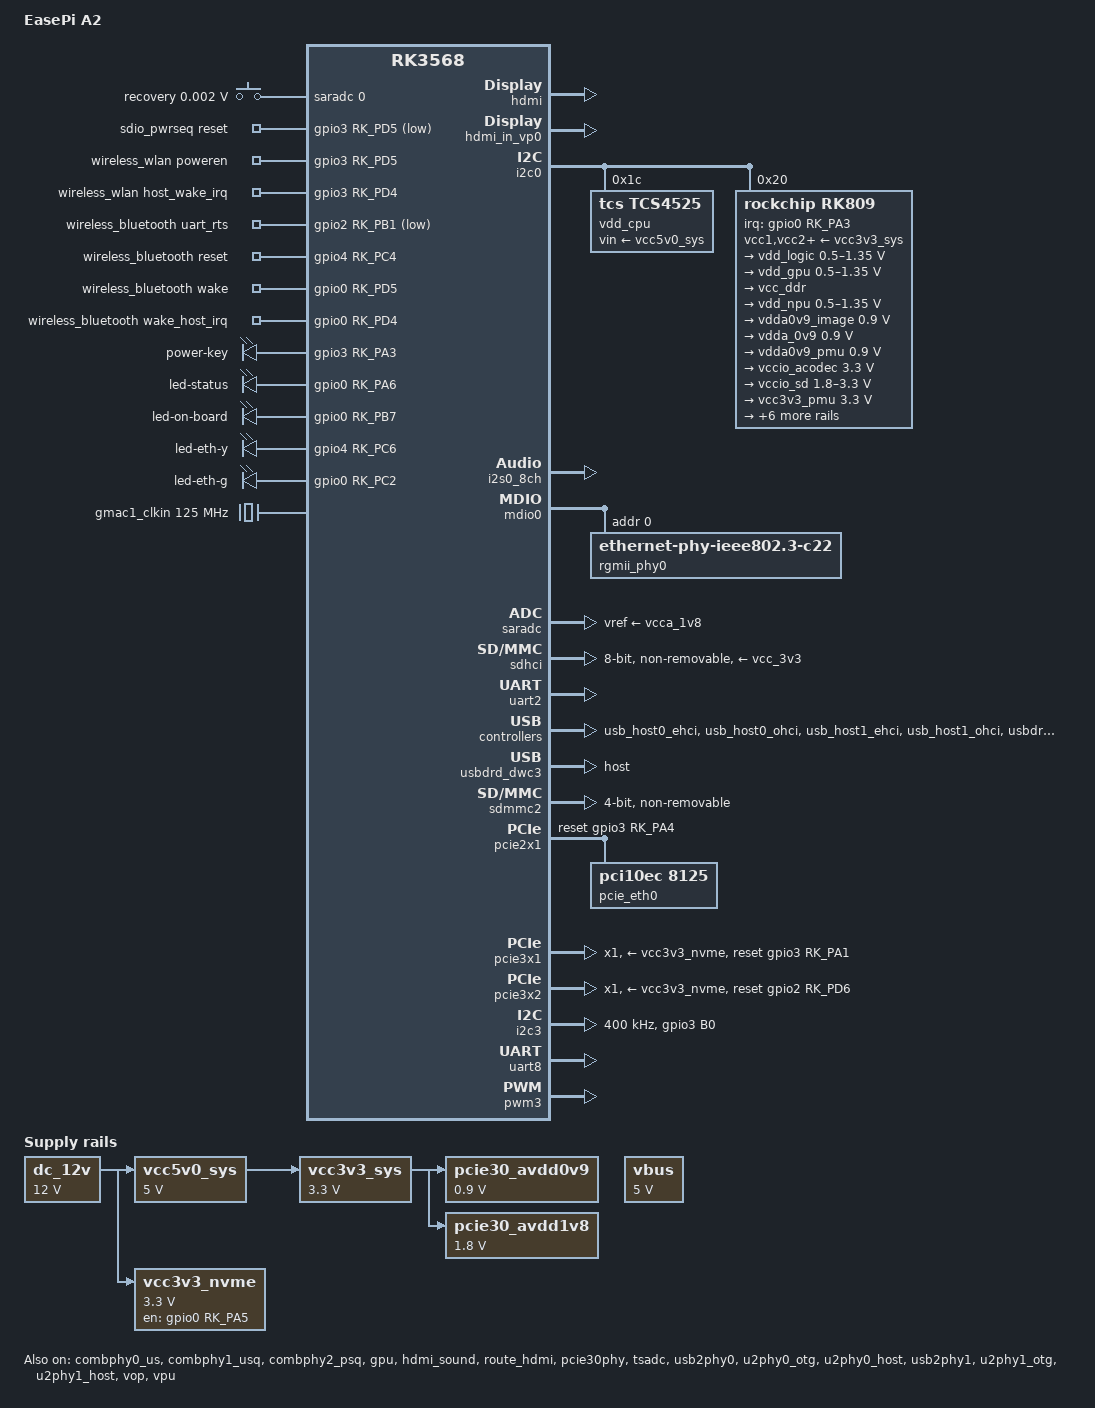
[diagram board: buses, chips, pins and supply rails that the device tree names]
// SPDX-License-Identifier: (GPL-2.0+ OR MIT)
/*
 * Copyright (c) 2024 hqnicolas <hqnicolas@msn.com>
 */

/dts-v1/;

#include <dt-bindings/gpio/gpio.h>
#include <dt-bindings/input/input.h>
#include <dt-bindings/pinctrl/rockchip.h>
#include <dt-bindings/soc/rockchip,vop2.h>

#include "rk3568.dtsi"
#include "rk3568-ramoops.dtsi"

/ {
	model = "EasePi A2";
	compatible = "easepi,a2", "rockchip,rk3568";
	bootargs = "earlycon=uart8250,mmio32,0xfe660000 console=ttyFIQ0";
	eth_order = "0000:01:00.0";
	kdebug = "0";
	hwmodel_id = "A2";
	hw_support = "hdmi";

	aliases {
		ethernet0 = &pcie_eth0;
		/delete-property/ ethernet1;
		mmc0 = &sdmmc0;
		mmc1 = &sdhci;
		mmc2 = &sdmmc1;

		led-boot 	 = &led_green;
		led-failsafe = &led_green;
		led-running  = &led_green;
		led-upgrade  = &led_green;
	};

	chosen: chosen {
		stdout-path = "serial2:1500000n8";
		power-key-factory-reset;
		power-key-dbclick;
	};

	adc_keys: adc-keys {
		compatible = "adc-keys";
		io-channels = <&saradc 0>;
		io-channel-names = "buttons";
		keyup-threshold-microvolt = <1800000>;
		poll-interval = <100>;

		vol-up-key {
			label = "recovery";
			linux,code = <KEY_RESTART>;
			press-threshold-microvolt = <1750>;
		};
	};

	sdio_pwrseq: sdio-pwrseq {
		compatible = "mmc-pwrseq-simple";
		clocks = <&rk809 1>;
		clock-names = "ext_clock";
		pinctrl-names = "default";
		pinctrl-0 = <&wifi_enable_h>;
		post-power-on-delay-ms = <200>;
		reset-gpios = <&gpio3 RK_PD5 GPIO_ACTIVE_LOW>;
	};

	wireless_wlan: wireless-wlan {
		compatible = "wlan-platdata";
		rockchip,grf = <&grf>;
		wifi_chip_type = "ap6255";
		WIFI,poweren_gpio = <&gpio3 RK_PD5 GPIO_ACTIVE_HIGH>;
		status = "okay";
	};

	wireless_bluetooth: wireless-bluetooth {
		compatible = "bluetooth-platdata";
		clocks = <&rk809 1>;
		clock-names = "ext_clock";
		//wifi-bt-power-toggle;
		uart_rts_gpios = <&gpio2 RK_PB1 GPIO_ACTIVE_LOW>;
		pinctrl-names = "default", "rts_gpio";
		pinctrl-0 = <&uart8m0_rtsn>;
		pinctrl-1 = <&uart8_gpios>;
		BT,reset_gpio    = <&gpio4 RK_PC4 GPIO_ACTIVE_HIGH>;
		BT,wake_gpio     = <&gpio0 RK_PD5 GPIO_ACTIVE_HIGH>;
		BT,wake_host_irq = <&gpio0 RK_PD4 GPIO_ACTIVE_HIGH>;
		status = "okay";
	};

	leds {
		compatible = "gpio-leds";
		pinctrl-names = "default";
		pinctrl-0 = <&led_green_en>;

		led_green: green {
			gpios = <&gpio3 RK_PA3 GPIO_ACTIVE_HIGH>;
			label = "power-key";
			linux,default-trigger = "heartbeat";
		};
	};

	gmac1_clkin: external-gmac1-clock {
		compatible = "fixed-clock";
		clock-frequency = <125000000>;
		clock-output-names = "gmac1_clkin";
		#clock-cells = <0>;
	};

	dc_12v: dc-12v {
		compatible = "regulator-fixed";
		regulator-name = "dc_12v";
		regulator-always-on;
		regulator-boot-on;
		regulator-min-microvolt = <12000000>;
		regulator-max-microvolt = <12000000>;
	};

	vcc5v0_sys: vcc5v0_sys {
		compatible = "regulator-fixed";
		regulator-name = "vcc5v0_sys";
		regulator-always-on;
		regulator-boot-on;
		regulator-min-microvolt = <5000000>;
		regulator-max-microvolt = <5000000>;
		vin-supply = <&dc_12v>;
	};

	vcc3v3_sys: vcc3v3-sys {
		compatible = "regulator-fixed";
		regulator-name = "vcc3v3_sys";
		regulator-always-on;
		regulator-boot-on;
		regulator-min-microvolt = <3300000>;
		regulator-max-microvolt = <3300000>;
		vin-supply = <&vcc5v0_sys>;
	};

	vcc3v3_nvme: vcc3v3-nvme-regulator {
		compatible = "regulator-fixed";
		regulator-name = "vcc3v3_nvme";
		regulator-min-microvolt = <3300000>;
		regulator-max-microvolt = <3300000>;
		enable-active-high;
		gpio = <&gpio0 RK_PA5 GPIO_ACTIVE_HIGH>;
		vin-supply = <&dc_12v>;
		pinctrl-names = "default";
		pinctrl-0 = <&vcc3v3_nvme_en>;
	};

	pcie30_avdd0v9: pcie30-avdd0v9 {
		compatible = "regulator-fixed";
		regulator-name = "pcie30_avdd0v9";
		regulator-always-on;
		regulator-boot-on;
		regulator-min-microvolt = <900000>;
		regulator-max-microvolt = <900000>;
		vin-supply = <&vcc3v3_sys>;
	};

	pcie30_avdd1v8: pcie30-avdd1v8 {
		compatible = "regulator-fixed";
		regulator-name = "pcie30_avdd1v8";
		regulator-always-on;
		regulator-boot-on;
		regulator-min-microvolt = <1800000>;
		regulator-max-microvolt = <1800000>;
		vin-supply = <&vcc3v3_sys>;
	};

	leds {
		compatible = "gpio-leds";

		led_status: led-status {
			label = "led-status";
			gpios = <&gpio0 RK_PA6 GPIO_ACTIVE_HIGH>;
			linux,default-trigger = "heartbeat";
			pinctrl-names = "default";
			pinctrl-0 = <&led_sys_h>;
		};

		led_on_board: led-on-board {
			label = "led-on-board";
			gpios = <&gpio0 RK_PB7 GPIO_ACTIVE_HIGH>;
			//linux,default-trigger = "heartbeat";
			pinctrl-names = "default";
			pinctrl-0 = <&led_on_board_h>;
		};

		led_eth_y: led-eth-y {
			label = "led-eth-y";
			gpios = <&gpio4 RK_PC6 GPIO_ACTIVE_HIGH>;
			//linux,default-trigger = "default-on";
			pinctrl-names = "default";
			pinctrl-0 = <&led_eth_y_h>;
		};

		led_eth_g: led-eth-g {
			label = "led-eth-g";
			gpios = <&gpio0 RK_PC2 GPIO_ACTIVE_HIGH>;
			//linux,default-trigger = "default-on";
			pinctrl-names = "default";
			pinctrl-0 = <&led_eth_g_h>;
		};
	};

	vbus: vbus-regulator {
		compatible = "regulator-fixed";
		regulator-name = "vbus";
		regulator-always-on;
		regulator-boot-on;
		regulator-min-microvolt = <5000000>;
		regulator-max-microvolt = <5000000>;
	};



	rk809_sound: rk809-sound {
		status = "okay";
		compatible = "simple-audio-card";
		simple-audio-card,format = "i2s";
		simple-audio-card,name = "rockchip,rk809-codec";
		simple-audio-card,mclk-fs = <256>;

		simple-audio-card,cpu {
			sound-dai = <&i2s1_8ch>;
		};
		simple-audio-card,codec {
			sound-dai = <&rk809_codec>;
		};
	};

//	fan: pwm-fan {
//		compatible = "pwm-fan";
//		pwms = <&pwm12 0 40000 0>;
//		fan-supply = <&dc_12v>;
//		//interrupt-parent = <&gpio0>;
//		//interrupts = <20 IRQ_TYPE_EDGE_FALLING>;
//		pulses-per-revolution = <2>;
//		cooling-levels = <0 50 100 150 200 255>;
//	};
};

/* USB 3.0 OTG/SATA Combo PHY_0 */
&combphy0_us {
	status = "okay";
};

/* USB 3.0 Host/SATA/QSGMII Combo PHY_1 */
&combphy1_usq {
	status = "okay";
};

&combphy2_psq {
	status = "okay";
};

&cpu0 {
	cpu-supply = <&vdd_cpu>;
};

&cpu1 {
	cpu-supply = <&vdd_cpu>;
};

&cpu2 {
	cpu-supply = <&vdd_cpu>;
};

&cpu3 {
	cpu-supply = <&vdd_cpu>;
};

//&cpu_thermal {
//	trips {
//		cpu_low: cpu-low {
//			temperature = <50000>;
//			hysteresis = <2000>;
//			type = "active";
//		};
//		cpu_warm: cpu-warm {
//			temperature = <60000>;
//			hysteresis = <2000>;
//			type = "active";
//		};
//		cpu_hot: cpu-hot {
//			temperature = <70000>;
//			hysteresis = <2000>;
//			type = "active";
//		};
//		cpu_hall: cpu-hall {
//			temperature = <80000>;
//			hysteresis = <2000>;
//			type = "active";
//		};
//	};
//
//	cooling-maps {
//		map0 {
//			trip = <&cpu_low>;
//			cooling-device = <&fan 0 1>;
//		};
//		map1 {
//			trip = <&cpu_warm>;
//			cooling-device = <&fan 1 2>;
//		};
//		map2 {
//			trip = <&cpu_hot>;
//			cooling-device = <&fan 2 4>;
//		};
//		map3 {
//			trip = <&cpu_hall>;
//			cooling-device = <&fan 4 5>;
//		};
//	};
//};



&gmac0 {
	status = "disabled";
};

&gmac1 {
	status = "disabled";
};

&gpu {
	mali-supply = <&vdd_gpu>;
	status = "okay";
};

&hdmi {
	avdd-0v9-supply = <&vdda0v9_image>;
	avdd-1v8-supply = <&vcca1v8_image>;
	status = "okay";
};



&hdmi_sound {
	status = "okay";
};

&route_hdmi {
	status = "okay";
	connect = <&vp0_out_hdmi>;
};

&hdmi_in_vp0 {
	status = "okay";
};

&hdmi_in_vp1 {
	status = "disabled";
};

&i2c0 {
	status = "okay";

	vdd_cpu: regulator@1c {
		compatible = "tcs,tcs4525";
		reg = <0x1c>;
		fcs,suspend-voltage-selector = <1>;
		regulator-name = "vdd_cpu";
		regulator-min-microvolt = <800000>;
		regulator-max-microvolt = <1150000>;
		regulator-ramp-delay = <2300>;
		regulator-always-on;
		regulator-boot-on;
		vin-supply = <&vcc5v0_sys>;

		regulator-state-mem {
			regulator-off-in-suspend;
		};
	};

	rk809: pmic@20 {
		compatible = "rockchip,rk809";
		reg = <0x20>;
		interrupt-parent = <&gpio0>;
		interrupts = <RK_PA3 IRQ_TYPE_LEVEL_LOW>;
		#clock-cells = <1>;
		#sound-dai-cells = <0>;
		clock-output-names = "rk808-clkout1", "rk808-clkout2";
		pinctrl-names = "default";
		pinctrl-0 = <&pmic_int_l>;
		system-power-controller;
		wakeup-source;

		vcc1-supply = <&vcc3v3_sys>;
		vcc2-supply = <&vcc3v3_sys>;
		vcc3-supply = <&vcc3v3_sys>;
		vcc4-supply = <&vcc3v3_sys>;
		vcc5-supply = <&vcc3v3_sys>;
		vcc6-supply = <&vcc3v3_sys>;
		vcc7-supply = <&vcc3v3_sys>;
		vcc8-supply = <&vcc3v3_sys>;
		vcc9-supply = <&vcc3v3_sys>;

		regulators {
			vdd_logic: DCDC_REG1 {
				regulator-name = "vdd_logic";
				regulator-always-on;
				regulator-boot-on;
				regulator-min-microvolt = <500000>;
				regulator-max-microvolt = <1350000>;
				regulator-init-microvolt = <900000>;
				regulator-ramp-delay = <6001>;
				regulator-initial-mode = <0x2>;
				regulator-state-mem {
					regulator-off-in-suspend;
				};
			};

			vdd_gpu: DCDC_REG2 {
				regulator-name = "vdd_gpu";
				regulator-always-on;
				regulator-boot-on;
				regulator-min-microvolt = <500000>;
				regulator-max-microvolt = <1350000>;
				regulator-init-microvolt = <900000>;
				regulator-ramp-delay = <6001>;
				regulator-initial-mode = <0x2>;
					regulator-state-mem {
					regulator-off-in-suspend;
				};
			};

			vcc_ddr: DCDC_REG3 {
				regulator-always-on;
				regulator-boot-on;
				regulator-initial-mode = <0x2>;
				regulator-name = "vcc_ddr";
				regulator-state-mem {
					regulator-on-in-suspend;
				};
			};

			vdd_npu: DCDC_REG4 {
				regulator-always-on;
				regulator-boot-on;
				regulator-min-microvolt = <500000>;
				regulator-max-microvolt = <1350000>;
				regulator-init-microvolt = <900000>;
				regulator-initial-mode = <0x2>;
				regulator-name = "vdd_npu";
				regulator-state-mem {
					regulator-off-in-suspend;
				};
			};

			vdda0v9_image: LDO_REG1 {
				regulator-always-on;
				regulator-boot-on;
				regulator-min-microvolt = <900000>;
				regulator-max-microvolt = <900000>;
				regulator-name = "vdda0v9_image";
				regulator-state-mem {
					regulator-off-in-suspend;
				};
			};

			vdda_0v9: LDO_REG2 {
				regulator-always-on;
				regulator-boot-on;
				regulator-min-microvolt = <900000>;
				regulator-max-microvolt = <900000>;
				regulator-name = "vdda_0v9";
				regulator-state-mem {
					regulator-off-in-suspend;
				};
			};

			vdda0v9_pmu: LDO_REG3 {
				regulator-always-on;
				regulator-boot-on;
				regulator-min-microvolt = <900000>;
				regulator-max-microvolt = <900000>;
				regulator-name = "vdda0v9_pmu";
				regulator-state-mem {
					regulator-on-in-suspend;
					regulator-suspend-microvolt = <900000>;
				};
			};

			vccio_acodec: LDO_REG4 {
				regulator-always-on;
				regulator-boot-on;
				regulator-min-microvolt = <3300000>;
				regulator-max-microvolt = <3300000>;
				regulator-name = "vccio_acodec";
				regulator-state-mem {
					regulator-off-in-suspend;
				};
			};

			vccio_sd: LDO_REG5 {
				regulator-name = "vccio_sd";
				regulator-always-on;
				regulator-boot-on;
				regulator-min-microvolt = <1800000>;
				regulator-max-microvolt = <3300000>;

				regulator-state-mem {
					regulator-off-in-suspend;
				};
			};

			vcc3v3_pmu: LDO_REG6 {
				regulator-name = "vcc3v3_pmu";
				regulator-always-on;
				regulator-boot-on;
				regulator-min-microvolt = <3300000>;
				regulator-max-microvolt = <3300000>;

				regulator-state-mem {
					regulator-on-in-suspend;
					regulator-suspend-microvolt = <3300000>;
				};
			};

			vcca_1v8: LDO_REG7 {
				regulator-name = "vcca_1v8";
				regulator-always-on;
				regulator-boot-on;
				regulator-min-microvolt = <1800000>;
				regulator-max-microvolt = <1800000>;

				regulator-state-mem {
					regulator-off-in-suspend;
				};
			};

			vcca1v8_pmu: LDO_REG8 {
				regulator-name = "vcca1v8_pmu";
				regulator-always-on;
				regulator-boot-on;
				regulator-min-microvolt = <1800000>;
				regulator-max-microvolt = <1800000>;

				regulator-state-mem {
					regulator-on-in-suspend;
					regulator-suspend-microvolt = <1800000>;
				};
			};

			vcca1v8_image: LDO_REG9 {
				regulator-name = "vcca1v8_image";
				regulator-min-microvolt = <1800000>;
				regulator-max-microvolt = <1800000>;

				regulator-state-mem {
					regulator-off-in-suspend;
				};
			};

			vcc_1v8: DCDC_REG5 {
				regulator-always-on;
				regulator-boot-on;
				regulator-min-microvolt = <1800000>;
				regulator-max-microvolt = <1800000>;
				regulator-name = "vcc_1v8";
				regulator-state-mem {
					regulator-off-in-suspend;
				};
			};

			vcc_3v3: SWITCH_REG1 {
				regulator-name = "vcc_3v3";
				regulator-always-on;
				regulator-boot-on;

				regulator-state-mem {
					regulator-off-in-suspend;
				};
			};

			vcc3v3_sd: SWITCH_REG2 {
				regulator-name = "vcc3v3_sd";
				regulator-always-on;
				regulator-boot-on;

				regulator-state-mem {
					regulator-off-in-suspend;
				};
			};
		};

		rk809_codec: codec {
			mic-in-differential;
			#sound-dai-cells = <0>;
		};
	};
};

&i2s0_8ch {
	status = "okay";
};

&pcie30phy {
	data-lanes = <1 2>;
	status = "okay";
};

&i2s1_8ch {
	pinctrl-names = "default";
	pinctrl-0 = <&i2s1m0_sclktx
				 &i2s1m0_lrcktx
				 &i2s1m0_sdi0
				 &i2s1m0_sdo0>;
	rockchip,trcm-sync-tx-only;
};

&mdio0 {
	rgmii_phy0: ethernet-phy@0 {
		compatible = "ethernet-phy-ieee802.3-c22";
		reg = <0>;
		status = "okay";
	};
};

&pinctrl {

	pmic {
		pmic_int_l: pmic-int-l {
			rockchip,pins = <0 RK_PA3 RK_FUNC_GPIO &pcfg_pull_up>;
		};
	};

	leds {
		led_eth_y_h: led_eth_y_h {
			rockchip,pins = <4 RK_PC6 RK_FUNC_GPIO &pcfg_pull_none>;
		};

		led_eth_g_h: led_eth_g_h {
			rockchip,pins = <0 RK_PC2 RK_FUNC_GPIO &pcfg_pull_none>;
		};

		led_sys_h: led_sys_h {
			rockchip,pins = <0 RK_PA6 RK_FUNC_GPIO &pcfg_pull_none>;
		};

		led_on_board_h: led_on_board_h {
			rockchip,pins = <0 RK_PB7 RK_FUNC_GPIO &pcfg_pull_none>;
		};

		led_green_en: led-green-en {
			rockchip,pins = <3 RK_PA3 RK_FUNC_GPIO &pcfg_pull_none>;
		};
	};

	nvme {
		vcc3v3_nvme_en: vcc3v3-nvme-en {
			rockchip,pins = <0 RK_PA5 RK_FUNC_GPIO &pcfg_pull_none>;
		};
	};

	oled {
		oled_en: oled-en {
			rockchip,pins = <3 RK_PB0 RK_FUNC_GPIO &pcfg_output_high>;
		};
	};

	wireless-wlan {
		wifi_host_wake_irq: wifi-host-wake-irq {
			rockchip,pins = <3 RK_PD4 RK_FUNC_GPIO &pcfg_pull_down>;
		};
	};

	sdio-pwrseq {
		wifi_enable_h: wifi-enable-h {
			rockchip,pins = <3 RK_PD5 RK_FUNC_GPIO &pcfg_pull_none>;
		};
	};

	wireless-bluetooth {
		uart8_gpios: uart8-gpios {
			rockchip,pins = <2 RK_PB1 RK_FUNC_GPIO &pcfg_pull_none>;
		};
	};

};

&pmu_io_domains {
	pmuio1-supply = <&vcc3v3_pmu>;
	pmuio2-supply = <&vcc3v3_pmu>;
	vccio1-supply = <&vccio_acodec>;
	vccio2-supply = <&vcc_1v8>;
	vccio3-supply = <&vccio_sd>;
	vccio4-supply = <&vcc_1v8>;
	vccio5-supply = <&vcc_3v3>;
	vccio6-supply = <&vcc_1v8>;
	vccio7-supply = <&vcc_3v3>;
	status = "okay";
};

//&pwm12 {
//	pinctrl-0 = <&pwm12m1_pins>;
//	pinctrl-names = "default";
//	status = "okay";
//};

&saradc {
	vref-supply = <&vcca_1v8>;
	status = "okay";
};

&sata1 {
	status = "disabled";
};

&sdhci {
	bus-width = <8>;
	mmc-hs200-1_8v;
	non-removable;
	vmmc-supply = <&vcc_3v3>;
	vqmmc-supply = <&vcc_1v8>;
	status = "okay";
};

&tsadc {
	rockchip,hw-tshut-mode = <1>;
	rockchip,hw-tshut-polarity = <0>;
	status = "okay";
};

&uart2 {
	status = "okay";
};

/* USB OTG/USB Host_1 USB 2.0 Comb PHY_0 */
&usb2phy0 {
	status = "okay";
};

&u2phy0_otg {
	status = "okay";
};

&u2phy0_host {
	phy-supply = <&vcc5v0_sys>;
	status = "okay";
};

&usb2phy1 {
	status = "okay";
};

&u2phy1_otg {
	status = "okay";
};

&u2phy1_host {
	phy-supply = <&vcc5v0_sys>;
	status = "okay";
};

&usb_host0_ehci {
	status = "okay";
};

&usb_host0_ohci {
	status = "okay";
};

&usb_host1_ehci {
	status = "okay";
};

&usb_host1_ohci {
	status = "okay";
};

&usbdrd_dwc3 {
	dr_mode = "host";
	status = "okay";
};

&usbdrd30 {
	status = "okay";
};

&usbhost_dwc3 {
	status = "okay";
};

&usbhost30 {
	status = "okay";
};

&vop {
	assigned-clocks = <&cru DCLK_VOP0>, <&cru DCLK_VOP1>;
	assigned-clock-parents = <&pmucru PLL_HPLL>, <&cru PLL_VPLL>;
	status = "okay";
};

&vpu {
	status = "okay";
};

&vop_mmu {
	status = "okay";
};



//配置WL_REG_ON引脚
&sdio_pwrseq {
	status = "okay";
	reset-gpios = <&gpio3 RK_PD5 GPIO_ACTIVE_LOW>;
	post-power-on-delay-ms = <200>;
};

// 配置WL_HOST_WAKE引脚，OOB模式时，该引脚必须配置
&wireless_wlan {
	pinctrl-names = "default";
	pinctrl-0 = <&wifi_host_wake_irq>;
	WIFI,host_wake_irq = <&gpio3 RK_PD4 GPIO_ACTIVE_HIGH>;
	wifi_chip_type = "ap6255";
	status = "okay";
};

&wireless_bluetooth {
	compatible = "bluetooth-platdata";
	clocks = <&rk809 1>;
	clock-names = "ext_clock";
	//wifi-bt-power-toggle;
	uart_rts_gpios = <&gpio2 RK_PB1 GPIO_ACTIVE_LOW>;
	pinctrl-names = "default", "rts_gpio";
	pinctrl-0 = <&uart8m0_rtsn>;
	pinctrl-1 = <&uart8_gpios>;
	BT,reset_gpio	= <&gpio4 RK_PC4 GPIO_ACTIVE_HIGH>;
	BT,wake_gpio	 = <&gpio0 RK_PD5 GPIO_ACTIVE_HIGH>;
	BT,wake_host_irq = <&gpio0 RK_PD4 GPIO_ACTIVE_HIGH>;
	status = "okay";
};

// wifi
&sdmmc2 {
	max-frequency = <150000000>;
	supports-sdio;
	bus-width = <4>;
	disable-wp;
	cap-sd-highspeed;
	cap-sdio-irq;
	keep-power-in-suspend;
	mmc-pwrseq = <&sdio_pwrseq>;
	non-removable;
	pinctrl-names = "default";
	pinctrl-0 = <&sdmmc2m0_bus4 &sdmmc2m0_cmd &sdmmc2m0_clk>;
	sd-uhs-sdr104;
	status = "okay";
};

&pcie2x1 {
	reset-gpios = <&gpio3 RK_PA4 GPIO_ACTIVE_HIGH>;
	status = "okay";

	pcie@0,0 {
		//reg = <0x00000000 0 0 0 0>;
		#address-cells = <3>;
		#size-cells = <2>;

		pcie_eth0: pcie-eth@0,0 {
			compatible = "pci10ec,8125";
			//reg = <0x000000 0 0 0 0>;
			realtek,led-data = <0 0 0x200 0x02B>;
			realtek,led-feature = /bits/ 8 <0xC0>;
		};
	};
};

&pcie3x1 {
	num-lanes = <1>;
	reset-gpios = <&gpio3 RK_PA1 GPIO_ACTIVE_HIGH>;
	vpcie3v3-supply = <&vcc3v3_nvme>;
	status = "okay";

};

&pcie3x2 {
	num-lanes = <1>;
	reset-gpios = <&gpio2 RK_PD6 GPIO_ACTIVE_HIGH>;
	vpcie3v3-supply = <&vcc3v3_nvme>;
	status = "okay";
};



&i2c3 {
	pinctrl-0 = <&i2c3m1_xfer &oled_en>;

	i2c-scl-rising-time-ns = <160>;
	i2c-scl-falling-time-ns = <30>;
	clock-frequency = <400000>;

	status = "okay";
};

// bluetooth
&uart8 {
	status = "okay";
	pinctrl-names = "default";
	pinctrl-0 = <&uart8m0_xfer &uart8m0_ctsn>;
};

// IR receiver
&pwm3 {
	compatible = "rockchip,remotectl-pwm";
	pinctrl-names = "default";
	pinctrl-0 = <&pwm3_pins>;
	remote_pwm_id = <3>;
	handle_cpu_id = <1>;
	remote_support_psci = <0>;
	status = "okay";
};

#include "rk3568-vngpu.dtsi"
#include "rk3568-vngpu-rk809.dtsi"

